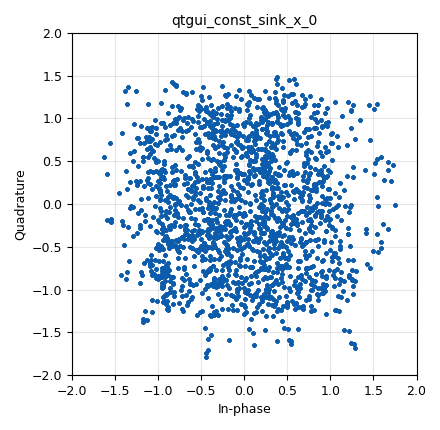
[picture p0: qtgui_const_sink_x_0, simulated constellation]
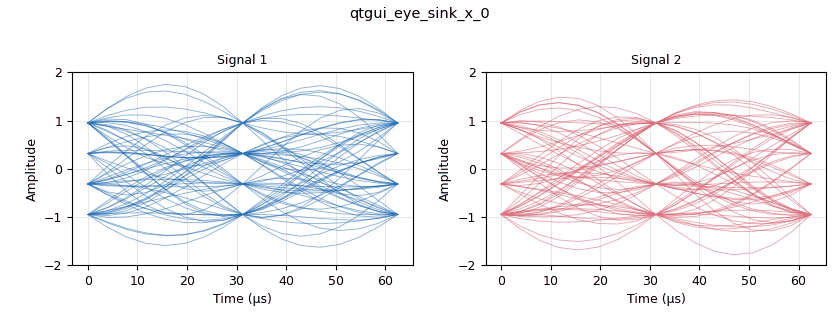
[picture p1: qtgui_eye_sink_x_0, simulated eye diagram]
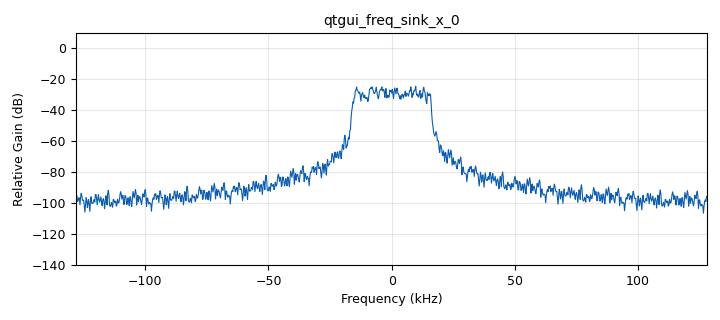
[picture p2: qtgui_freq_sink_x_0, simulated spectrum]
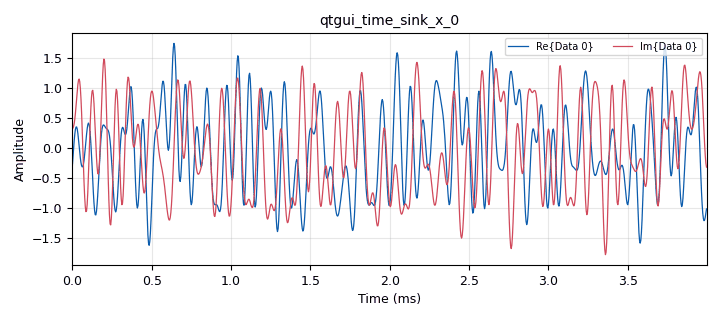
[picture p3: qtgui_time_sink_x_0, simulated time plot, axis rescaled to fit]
options:
  parameters:
    author: radiogis_director
    generate_options: qt_gui
    id: ej1
    output_language: python
    title: ej1
  states: {}

blocks:
- name: M
  id: variable
  parameters:
    value: len(tabla_de_verdad_constelacion )
  states: {}
- name: Rb
  id: variable
  parameters:
    value: Rs*bps
  states: {}
- name: Rs
  id: variable
  parameters:
    value: '32000'
  states: {}
- name: Sps
  id: variable
  parameters:
    value: '8'
  states: {}
- name: bps
  id: variable
  parameters:
    value: int(math.log(M,2))
  states: {}
- name: h
  id: variable
  parameters:
    value: '[1]*Sps'
  states: {state: disabled}
- name: h
  id: variable
  parameters:
    value: wform.nyq(Sps,ntaps)
  states: {}
- name: ntaps
  id: variable
  parameters:
    value: '256'
  states: {}
- name: samp_rate
  id: variable
  parameters:
    value: Rs*Sps
  states: {}
- name: tabla_de_verdad_constelacion
  id: variable
  parameters:
    value: digital.constellation_16qam().points()
  states: {}
- name: analog_noise_source_x_0
  id: analog_noise_source_x
  parameters:
    amp: 0.2*0
    noise_type: analog.GR_GAUSSIAN
    seed: '0'
    type: complex
  states: {}
- name: analog_random_source_x_0
  id: analog_random_source_x
  parameters:
    max: '2'
    min: '0'
    num_samps: '1000'
    repeat: 'True'
    type: byte
  states: {}
- name: blocks_add_xx_0
  id: blocks_add_xx
  parameters:
    type: complex
  states: {}
- name: blocks_pack_k_bits_bb_0
  id: blocks_pack_k_bits_bb
  parameters:
    k: '8'
  states: {}
- name: blocks_packed_to_unpacked_xx_0
  id: blocks_packed_to_unpacked_xx
  parameters:
    bits_per_chunk: bps
    endianness: gr.GR_MSB_FIRST
    type: byte
  states: {}
- name: digital_chunks_to_symbols_xx_0
  id: digital_chunks_to_symbols_xx
  parameters:
    dimension: '1'
    in_type: byte
    out_type: complex
    symbol_table: tabla_de_verdad_constelacion
  states: {}
- name: import_0
  id: import
  parameters:
    imports: import math
  states: {}
- name: interp_fir_filter_xxx_0
  id: interp_fir_filter_xxx
  parameters:
    interp: Sps
    taps: h
    type: ccf
  states: {}
- name: menu
  id: qtgui_tab_widget
  parameters:
    gui_hint: 0,4,1,1
    label0: Time
    label1: PSD
    label2: Eye Diagram
    label3: Constellation
    num_tabs: '4'
  states: {}
- name: qtgui_const_sink_x_0
  id: qtgui_const_sink_x
  parameters:
    gui_hint: menu@3:0,0,1,1
    marker1: '-1'
    size: 1024*100
    style1: '1'
    type: complex
  states: {}
- name: qtgui_eye_sink_x_0
  id: qtgui_eye_sink_x
  parameters:
    gui_hint: menu@2:0,0,1,1
    samp_per_symbol: Sps
    size: '1024'
    srate: samp_rate
    type: complex
    width1: '6'
    width2: '6'
    ymax: '2'
    ymin: '-2'
  states: {}
- name: qtgui_freq_sink_x_0
  id: qtgui_freq_sink_x
  parameters:
    average: '0.05'
    bw: samp_rate
    fc: '0'
    fftsize: '1024'
    gui_hint: menu@1:0,0,1,1
    type: complex
    width1: '3'
  states: {}
- name: qtgui_time_sink_x_0
  id: qtgui_time_sink_x
  parameters:
    gui_hint: menu@0:0,0,1,1
    size: '1024'
    srate: samp_rate
    type: complex
    width1: '3'
    width2: '3'
  states: {}
- name: virtual_sink_0
  id: virtual_sink
  parameters:
    stream_id: p1
  states: {}
- name: virtual_sink_0_0
  id: virtual_sink
  parameters:
    stream_id: p0
  states: {}
- name: virtual_source_0
  id: virtual_source
  parameters:
    stream_id: p1
  states: {}
- name: virtual_source_0_0
  id: virtual_source
  parameters:
    stream_id: p0
  states: {}
- name: wform
  id: epy_module
  parameters:
    source_code: |
      import math
      import numpy
      #######################################################
      ##        Hecho por Homero Ortega Boada              ##
      ##        comdiguis@saber.uis.edu.co                 ##
      ##     Universidad Industrial de Santander           ##
      #######################################################

      #######################################################
      ##               Forma rectangular                   ##
      #######################################################                       
      def rect(Sps):
          return Sps*[1.,]

      #######################################################
      ##               Forma de Nyquist                    ##
      #######################################################                       
      def nyq(Sps,ntaps):
          n=numpy.linspace(-int(ntaps/2), int(ntaps/2-1),ntaps)
          h=numpy.sinc(n/Sps)
      #    return h/numpy.amax(h)
          return h
      #######################################################
      ##               Forma Coseno Alzado                 ##
      #######################################################                       
      def rcos(Sps,ntaps,beta):
          if beta==0:
              h=nyq(Sps,ntaps)
          else:
              h=ntaps*[0,]
              for n in range(ntaps):
                  k=n-ntaps/2. # esto es para que h[n] quede centrada en la mitad del vector
                  if abs(k)==Sps/(2.*beta):
                      h[n]=numpy.sinc(1./(2.*beta))*math.pi/4.
                  else:
                      h[n]=numpy.sinc(k/Sps)*math.cos(beta*k*math.pi/Sps)/(1.-(2.*beta*k/Sps)**2)                
          Amp=numpy.amax(h)
          return h/Amp
      #######################################################
      ##            Forma Raiz de Coseno Alzado            ##
      #######################################################                       

      def rrcos(Sps,ntaps,beta):
          if beta==0:
              h=nyq(Sps,ntaps)
          else:
              h=ntaps*[0,]
              beta4=4.*beta
              for n in range(ntaps):
                  k=n-ntaps/2. # esto es para que h[n] quede centrada en la mitad del vector
                  if k==0:
                      h[n]=1+beta*(4./math.pi-1.)
                  elif abs(k)==Sps/beta4:
                      ha=(1.+2./math.pi)*math.sin(math.pi/beta4)
                      hb=(1.-2./math.pi)*math.cos(math.pi/beta4)
                      h[n]=(ha+hb)*beta/math.sqrt(2.)
                  else:
                      ks=k/Sps
                      kspi=math.pi*ks
                      Num=math.sin(kspi*(1-beta))+beta4*ks*math.cos(kspi*(1+beta))
                      Den=kspi*(1.-(beta4*ks)**2)
                      h[n]=Num/Den                
          Amp=numpy.amax(h)
          return h/Amp
      ########################################################
      ##     Bipolar non return to zero level signal        ##
      ########################################################
      def B_NRZ_L(Sps):
          return Sps*[1.,]

      ########################################################
      ##  Forma sinc . Es la misma nyq() que aparece arriba ##
      ########################################################
      def sinc(Sps,ntaps):
          n=np.linspace(-int(ntaps/2), int(ntaps/2-1),ntaps)
          h=np.sinc(n/Sps)
          return h
      ########################################################
      ##              forma diente se sierra                ##
      ########################################################
      def saw(Sps):
          return np.linspace(0,Sps-1,Sps)	
      ########################################################
      #         Bipolar non return to zero signal           ##
      ########################################################
      def RZ(Sps):
          h=Sps*[1.,]
          Sps_m=int(Sps/2)
          h[Sps_m+1:Sps:1]=np.zeros(Sps-Sps_m)
          return h
  states: {}

connections:
- [analog_noise_source_x_0, '0', blocks_add_xx_0, '0']
- [analog_random_source_x_0, '0', blocks_pack_k_bits_bb_0, '0']
- [blocks_add_xx_0, '0', virtual_sink_0, '0']
- [blocks_pack_k_bits_bb_0, '0', blocks_packed_to_unpacked_xx_0, '0']
- [blocks_packed_to_unpacked_xx_0, '0', digital_chunks_to_symbols_xx_0, '0']
- [digital_chunks_to_symbols_xx_0, '0', interp_fir_filter_xxx_0, '0']
- [interp_fir_filter_xxx_0, '0', blocks_add_xx_0, '1']
- [interp_fir_filter_xxx_0, '0', virtual_sink_0_0, '0']
- [virtual_source_0, '0', qtgui_const_sink_x_0, '0']
- [virtual_source_0, '0', qtgui_eye_sink_x_0, '0']
- [virtual_source_0, '0', qtgui_time_sink_x_0, '0']
- [virtual_source_0_0, '0', qtgui_freq_sink_x_0, '0']

metadata:
  file_format: 1
